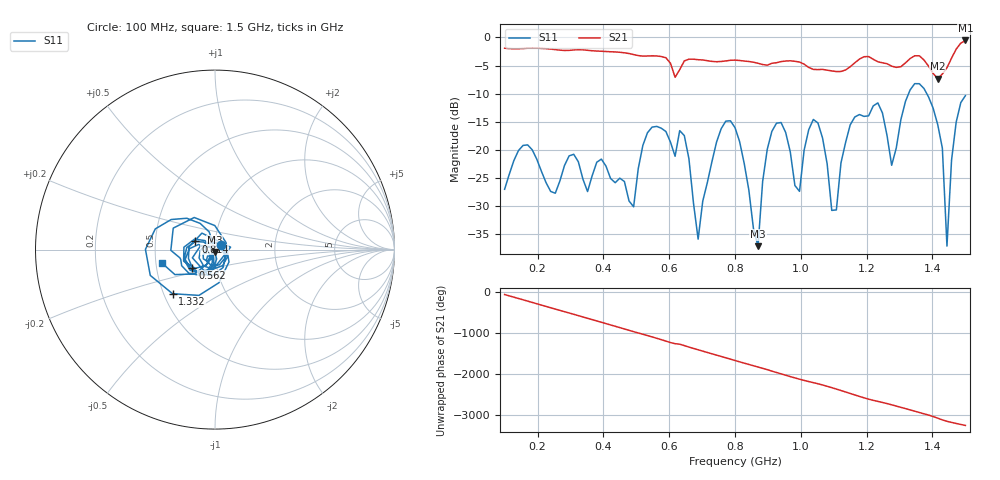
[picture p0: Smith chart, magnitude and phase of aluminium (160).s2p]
! NanoVNA-App
! Date: 2025-09-25 14:56:31
! Start: 100MHz Stop: 1,5GHz Points: 101
! S-Parameter data: F S11 S21 S12 S22
# Hz S RI R 50
!  Frequency  S11_Real  S11_Imag  S21_Real  S21_Imag  S12_Real  S12_Imag  S22_Real  S22_Imag
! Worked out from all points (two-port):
!   101 points, 100 MHz to 1.5 GHz, reference 50 ohm
!   highest |S21| = -0.54 dB at 1.5 GHz (marker M1); lowest = -7.4 dB at 1.416 GHz (marker M2)
!   |S21| within 3 dB of the highest: start of sweep to 585.4 MHz; 1.459 GHz to end of sweep (the widest 2 of 4)
!   lowest |S11| = -37.1 dB at 870 MHz (marker M3), VSWR 1.03, Z = 49.9 - j1.39 ohm
!   |S11| at or under -10 dB: start of sweep to 1.327 GHz; 1.383 GHz to end of sweep
!   S12 and S22 are empty: the file has one direction only
!   S11 on the Smith chart (normalised r, x): 100 MHz: 1.07, +0.06; 562 MHz: 0.76, -0.16; 814 MHz: 0.80, +0.07; 1.332 GHz: 0.56, -0.31; 1.5 GHz: 0.54, -0.09
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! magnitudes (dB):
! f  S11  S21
! 100 MHz  -27.0  -1.9
! 338 MHz  -25.2  -2.2
! 492 MHz  -30.1  -3.1
! 562 MHz  -15.8  -3.3
! 576 MHz  -16.1  -3.4
! 646 MHz  -17.5  -4.2
! 688 MHz  -35.9  -4.0
! 800 MHz  -16.0  -4.0
! 814 MHz  -18.5  -4.1
! 870 MHz  -37.1  -4.6
! 912 MHz  -16.7  -4.6
! 996 MHz  -27.4  -4.4
! 1.038 GHz  -14.6  -5.7
! 1.094 GHz  -30.8  -6.0
! 1.164 GHz  -14.1  -4.5
! 1.234 GHz  -11.6  -4.3
! 1.276 GHz  -22.7  -5.1
! 1.332 GHz  -9.3  -3.8
! 1.416 GHz  -15.5  -7.4
! 1.444 GHz  -37.1  -5.4
! 1.472 GHz  -15.1  -2.1
! 1.5 GHz  -10.4  -0.5
